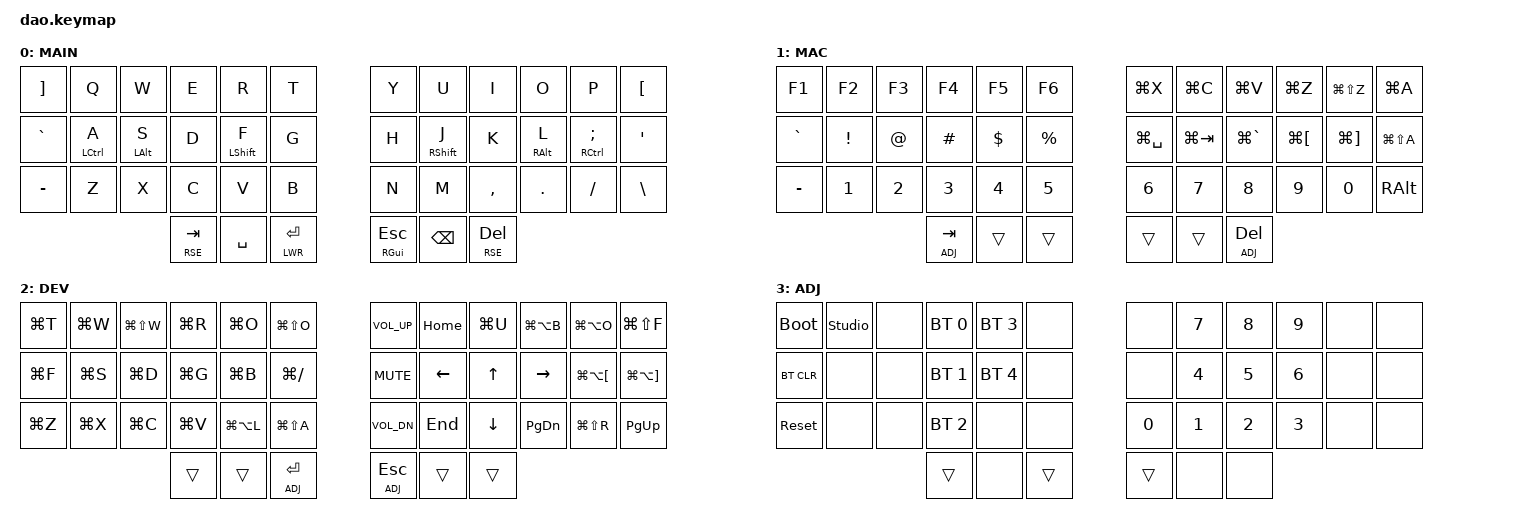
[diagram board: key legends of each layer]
/*
 * Copyright (c) 2021 Rafael Yumagulov
 *
 * SPDX-License-Identifier: MIT
 */

#include <behaviors.dtsi>
#include <dt-bindings/zmk/bt.h>
#include <dt-bindings/zmk/keys.h>

#define DEF 0
#define LWR 1
#define RSE 2
#define ADJ 3

&lt { quick_tap_ms = <200>; };

&mt {
    flavor = "tap-preferred";
    tapping_term_ms = <220>;
    quick_tap_ms = <200>;
    require-prior-idle-ms = <125>;
};

/ {
    chosen {
        zmk,physical_layout = &dao_crkbd_layout;

        // zmk,physical_layout = &dao_full_layout;
    };
};

/ {
    behaviors {
        lmt: left_mod_tap {
            compatible = "zmk,behavior-hold-tap";
            #binding-cells = <2>;
            flavor = "tap-preferred";
            tapping-term-ms = <200>;
            quick-tap-ms = <200>;
            require-prior-idle-ms = <125>;
            bindings = <&kp>, <&kp>;
            hold-trigger-key-positions = <6 7 8 9 10 11 18 19 20 21 22 23 30 31 32 33 34 35 39 40 41>;
            hold-trigger-on-release;
        };

        rmt: right_mod_tap {
            compatible = "zmk,behavior-hold-tap";
            #binding-cells = <2>;
            flavor = "tap-preferred";
            tapping-term-ms = <200>;
            quick-tap-ms = <200>;
            require-prior-idle-ms = <125>;
            bindings = <&kp>, <&kp>;
            hold-trigger-key-positions = <0 1 2 3 4 5 12 13 14 15 16 17 24 25 26 27 28 29 36 37 38>;
            hold-trigger-on-release;
        };
    };
};

/ {
    combos {
        compatible = "zmk,combos";

        combo_lang {
            timeout-ms = <50>;
            key-positions = <32 33>;
            bindings = <&kp LC(SPACE)>;
        };
    };
};

/ {
    keymap {
        compatible = "zmk,keymap";

        default_layer {
            display-name = "MAIN";
            bindings = <
&kp RBKT         &kp Q       &kp W       &kp E        &kp R             &kp T        &kp Y        &kp U             &kp I          &kp O       &kp P      &kp LBKT
&kp GRAVE        &lmt LCTRL A &lmt LALT S  &kp D        &lmt LSHIFT F     &kp G        &kp H        &rmt RSHIFT J     &kp K          &rmt RALT L &rmt RCTRL SEMI &kp SQT
&kp MINUS        &kp Z       &kp X       &kp C        &kp V             &kp B        &kp N        &kp M             &kp COMMA      &kp DOT     &kp FSLH   &kp BSLH
                                          &lt RSE TAB  &kp SPACE         &lt LWR RET  &mt RGUI ESC   &kp BACKSPACE     &lt RSE DELETE
            >;
        };

        lower_layer {
            display-name = "MAC";
            bindings = <
&kp F1       &kp F2    &kp F3  &kp F4       &kp F5    &kp F6     &kp LG(X)      &kp LG(C)     &kp LG(V)      &kp LG(Z)      &kp LG(LS(Z))  &kp LG(A)
&kp GRAVE    &kp EXCL  &kp AT  &kp HASH     &kp DLLR  &kp PRCNT  &kp LG(SPACE)  &kp LG(TAB)   &kp LG(GRAVE)  &kp LG(LBKT)   &kp LG(RBKT)   &kp LG(LS(A))
&kp MINUS    &kp N1    &kp N2  &kp N3       &kp N4    &kp N5     &kp N6         &kp N7        &kp N8         &kp N9         &kp N0         &kp RALT
                                  &lt ADJ TAB  &trans    &trans     &trans         &trans        &lt ADJ DEL
            >;
        };

        raise_layer {
            display-name = "DEV";
            bindings = <
&kp LG(T)      &kp LG(W)  &kp LG(LS(W))  &kp LG(R)  &kp LG(O)       &kp LG(LS(O))   &kp C_VOL_UP  &kp HOME  &kp LG(U)       &kp LG(LA(B))  &kp LG(LA(O))  &kp LG(LS(F))
&kp LG(F)      &kp LG(S)  &kp LG(D)      &kp LG(G)  &kp LG(B)       &kp LG(SLASH)   &kp C_MUTE    &kp LEFT  &kp UP          &kp RIGHT       &kp LG(LA(LBKT)) &kp LG(LA(RBKT))
&kp LG(Z)      &kp LG(X)  &kp LG(C)      &kp LG(V)  &kp LG(LA(L))   &kp LG(LS(A))   &kp C_VOL_DN  &kp END   &kp DOWN        &kp PG_DN       &kp LG(LS(R))   &kp PG_UP
                                          &trans     &trans          &lt ADJ RET     &lt ADJ ESC  &trans     &trans
            >;
        };

        adjust_layer {
            display-name = "ADJ";
            bindings = <
&bootloader  &studio_unlock  &none         &bt BT_SEL 0  &bt BT_SEL 3  &none         &none         &kp N7        &kp N8        &kp N9        &none           &none
&bt BT_CLR   &none           &none         &bt BT_SEL 1  &bt BT_SEL 4  &none         &none         &kp N4        &kp N5        &kp N6        &none           &none
&sys_reset   &none           &none         &bt BT_SEL 2  &none         &none         &kp N0        &kp N1        &kp N2        &kp N3        &none           &none
                                           &trans        &none         &trans        &trans        &none          &none
            >;
        };
    };
};
